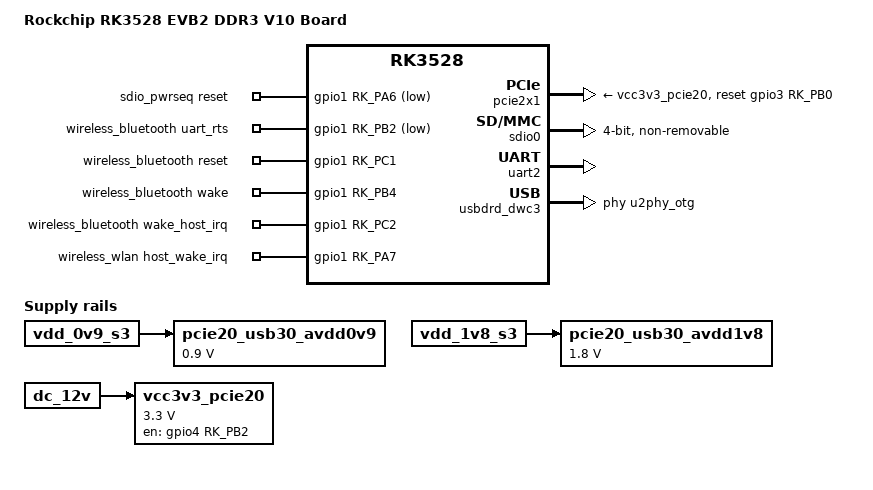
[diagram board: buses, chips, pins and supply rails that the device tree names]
// SPDX-License-Identifier: (GPL-2.0+ OR MIT)
/*
 * Copyright (c) 2022 Rockchip Electronics Co., Ltd.
 *
 */

/dts-v1/;

#include "rk3528.dtsi"
#include "rk3528-evb.dtsi"

/ {
	model = "Rockchip RK3528 EVB2 DDR3 V10 Board";
	compatible = "rockchip,rk3528-evb2-ddr3-v10", "rockchip,rk3528";

	pcie20_usb30_avdd0v9: pcie20-usb30-avdd0v9 {
		compatible = "regulator-fixed";
		regulator-name = "pcie20_usb30-avdd0v9";
		regulator-boot-on;
		regulator-always-on;
		regulator-min-microvolt = <900000>;
		regulator-max-microvolt = <900000>;
		vin-supply = <&vdd_0v9_s3>;
	};

	pcie20_usb30_avdd1v8: pcie20-usb30-avdd1v8 {
		compatible = "regulator-fixed";
		regulator-name = "pcie20_usb30_avdd1v8";
		regulator-boot-on;
		regulator-always-on;
		regulator-min-microvolt = <1800000>;
		regulator-max-microvolt = <1800000>;
		vin-supply = <&vdd_1v8_s3>;
	};

	sdio_pwrseq: sdio-pwrseq {
		compatible = "mmc-pwrseq-simple";
		pinctrl-names = "default";
		pinctrl-0 = <&wifi_enable_h &clkm1_32k_out>;
		reset-gpios = <&gpio1 RK_PA6 GPIO_ACTIVE_LOW>;
	};

	vcc3v3_pcie20: vcc3v3-pcie20 {
		compatible = "regulator-fixed";
		regulator-name = "vcc3v3_pcie20";
		regulator-min-microvolt = <3300000>;
		regulator-max-microvolt = <3300000>;
		enable-active-high;
		gpio = <&gpio4 RK_PB2 GPIO_ACTIVE_HIGH>;
		startup-delay-us = <5000>;
		vin-supply = <&dc_12v>;
	};

	wireless_bluetooth: wireless-bluetooth {
		compatible = "bluetooth-platdata";
		//wifi-bt-power-toggle;
		uart_rts_gpios = <&gpio1 RK_PB2 GPIO_ACTIVE_LOW>;
		pinctrl-names = "default", "rts_gpio";
		pinctrl-0 = <&uart2m1_rtsn>;
		pinctrl-1 = <&uart2m1_gpios>;
		BT,reset_gpio    = <&gpio1 RK_PC1 GPIO_ACTIVE_HIGH>;
		BT,wake_gpio     = <&gpio1 RK_PB4 GPIO_ACTIVE_HIGH>;
		BT,wake_host_irq = <&gpio1 RK_PC2 GPIO_ACTIVE_HIGH>;
		status = "okay";
	};

	wireless_wlan: wireless-wlan {
		compatible = "wlan-platdata";
		rockchip,grf = <&grf>;
		wifi_chip_type = "ap6275s";
		pinctrl-names = "default";
		pinctrl-0 = <&wifi_host_wake_irq>;
		WIFI,host_wake_irq = <&gpio1 RK_PA7 GPIO_ACTIVE_HIGH>;
		status = "okay";
	};
};

&pcie2x1 {
	reset-gpios = <&gpio3 RK_PB0 GPIO_ACTIVE_HIGH>;
	vpcie3v3-supply = <&vcc3v3_pcie20>;
	status = "okay";
};

&sdio0 {
	max-frequency = <200000000>;
	no-sd;
	no-mmc;
	supports-sdio;
	bus-width = <4>;
	disable-wp;
	cap-sd-highspeed;
	cap-sdio-irq;
	keep-power-in-suspend;
	non-removable;
	mmc-pwrseq = <&sdio_pwrseq>;
	pinctrl-names = "default";
	pinctrl-0 = <&sdio0_bus4 &sdio0_cmd &sdio0_clk>;
	sd-uhs-sdr104;
	status = "okay";
};

&uart2 {
	status = "okay";
	pinctrl-names = "default";
	pinctrl-0 = <&uart2m1_xfer &uart2m1_ctsn>;
};

&usbdrd_dwc3 {
	phys = <&u2phy_otg>;
	phy-names = "usb2-phy";
	maximum-speed = "high-speed";
	snps,dis_u2_susphy_quirk;
	snps,usb2-lpm-disable;
};

&pinctrl {
	sdio-pwrseq {
		wifi_enable_h: wifi-enable-h {
			rockchip,pins = <1 RK_PA6 RK_FUNC_GPIO &pcfg_pull_none>;
		};

		wifi_32k: wifi-32k {
			rockchip,pins = <1 RK_PC3 1 &pcfg_pull_none>;
		};
	};

	wireless-wlan {
		wifi_host_wake_irq: wifi-host-wake-irq {
			rockchip,pins = <1 RK_PA7 RK_FUNC_GPIO &pcfg_pull_down>;
		};
	};

	wireless-bluetooth {
		uart2m1_gpios: uart2m1-gpios {
			rockchip,pins = <1 RK_PB2 RK_FUNC_GPIO &pcfg_pull_none>;
		};
	};
};
